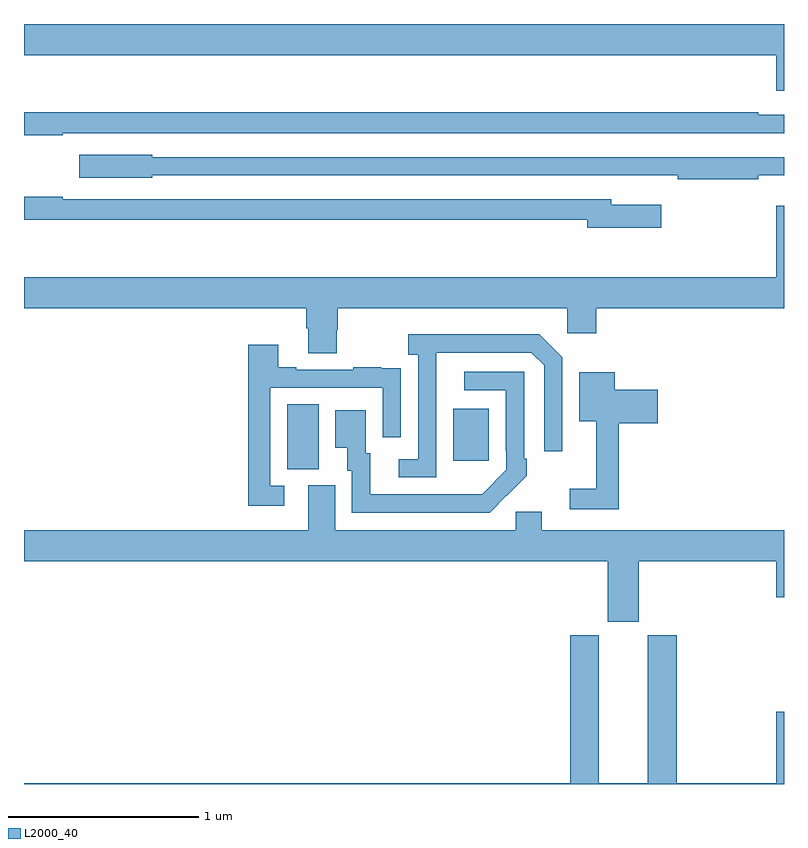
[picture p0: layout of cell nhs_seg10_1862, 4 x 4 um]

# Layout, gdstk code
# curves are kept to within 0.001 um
import gdstk
lib = gdstk.Library(unit=1e-6, precision=1e-09)
def R(c, l, rs):  # rectangles x0, y0, x1, y1
    for r in rs: c.add(gdstk.rectangle(r[:2], r[2:], *l))
def P(c, l, *ps):  # polygons
    for p in ps: c.add(gdstk.Polygon(p, *l))
L2000_40 = (2000, 40)

nhs_seg10_1862 = lib.new_cell('nhs_seg10_1862')
R(nhs_seg10_1862, L2000_40, [(210.386,1278.157,210.55,1278.5), (211.259,1278.201,211.447,1278.475)])
P(nhs_seg10_1862, L2000_40, [(213,1280.5),(209,1280.5),(209,1280.336),(212.96,1280.336),(212.96,1280.148),(213,1280.148)],
  [(209.204,1279.926),(213,1279.926),(213,1280.022),(212.864,1280.022),(212.864,1280.035),(209,1280.035),(209,1279.914),(209.204,1279.914)],
  [(212.864,1279.703),(213,1279.703),(213,1279.8),(209.676,1279.8),(209.676,1279.813),(209.292,1279.813),(209.292,1279.691),(209.676,1279.691),(209.676,1279.704),(212.188,1279.704),(212.188,1279.703),(212.44,1279.703),(212.44,1279.684),(212.864,1279.684)],
  [(212.353,1279.549),(212.092,1279.549),(212.092,1279.578),(209.204,1279.578),(209.204,1279.591),(209,1279.591),(209,1279.47),(211.964,1279.47),(211.964,1279.427),(212.353,1279.427)],
  [(210.645,1278.891),(210.65,1278.891),(210.65,1279.004),(211.86,1279.004),(211.86,1278.873),(212.012,1278.873),(212.012,1279.004),(213,1279.004),(213,1279.543),(212.96,1279.543),(212.96,1279.168),(209,1279.168),(209,1279.004),(210.485,1279.004),(210.485,1278.898),(210.497,1278.898),(210.497,1278.766),(210.645,1278.766)],
  [(211.17,1278.571),(211.171,1278.771),(211.671,1278.771),(211.737,1278.705),(211.737,1278.252),(211.833,1278.252),(211.833,1278.747),(211.712,1278.868),(211.023,1278.868),(211.023,1278.758),(211.074,1278.758),(211.074,1278.21),(210.972,1278.21),(210.972,1278.114),(211.17,1278.114)],
  [(210.37,1278.069),(210.297,1278.069),(210.297,1278.585),(210.888,1278.585),(210.888,1278.324),(210.984,1278.324),(210.984,1278.578),(210.983,1278.578),(210.983,1278.687),(210.881,1278.687),(210.881,1278.694),(210.733,1278.694),(210.733,1278.681),(210.433,1278.681),(210.433,1278.694),(210.337,1278.694),(210.337,1278.811),(210.181,1278.811),(210.181,1277.964),(210.37,1277.964)],
  [(211.541,1278.019),(211.542,1278.018),(211.647,1278.123),(211.647,1278.211),(211.632,1278.211),(211.632,1278.669),(211.317,1278.669),(211.317,1278.573),(211.536,1278.573),(211.536,1278.253),(211.539,1278.253),(211.539,1278.153),(211.411,1278.025),(210.823,1278.024),(210.823,1278.24),(210.799,1278.24),(210.799,1278.466),(210.638,1278.466),(210.638,1278.269),(210.701,1278.269),(210.701,1278.15),(210.726,1278.15),(210.726,1277.928),(211.45,1277.928)],
  [(212.129,1278.398),(212.335,1278.398),(212.335,1278.576),(212.11,1278.576),(212.11,1278.667),(211.922,1278.667),(211.922,1278.41),(212.012,1278.41),(212.012,1278.055),(211.872,1278.055),(211.872,1277.946),(212.129,1277.946)],
  [(212.236,1277.672),(212.96,1277.672),(212.96,1277.484),(213,1277.484),(213,1277.836),(211.726,1277.836),(211.726,1277.934),(211.587,1277.934),(211.587,1277.836),(210.637,1277.836),(210.637,1278.072),(210.497,1278.072),(210.497,1277.836),(209,1277.836),(209,1277.672),(212.072,1277.672),(212.072,1277.355),(212.236,1277.355)],
  [(213,1276.879),(212.96,1276.879),(212.96,1276.504),(212.435,1276.504),(212.435,1277.283),(212.282,1277.283),(212.282,1276.504),(212.026,1276.504),(212.026,1277.283),(211.874,1277.283),(211.874,1276.504),(209,1276.504),(209,1276.5),(213,1276.5)])

lib.write_gds('nhs_seg10_1862.gds')
